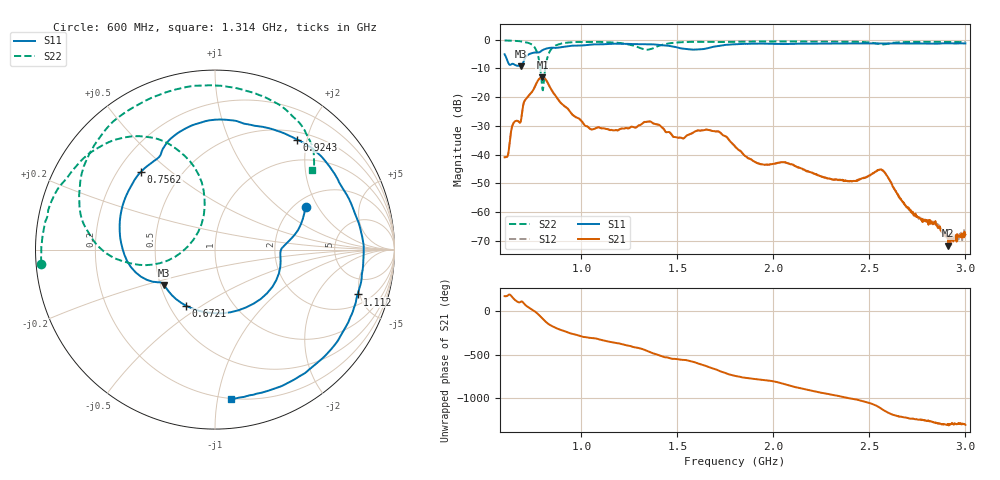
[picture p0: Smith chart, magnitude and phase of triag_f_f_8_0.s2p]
#  HZ  S  RI  R  50.00
! Rohde & Schwarz ZVB8 2Ports - Version 2.81 - 1145.1010k08 SN: 100113
! Date: 2016-05-03 01:37:59
! Measurements: S11 S21 S12 S22
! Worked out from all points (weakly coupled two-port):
!   1000 points, 600 MHz to 3 GHz, reference 50 ohm
!   highest |S21| = -13.06 dB at 797 MHz (marker M1); lowest = -71.7 dB at 2.911 GHz (marker M2)
!   lowest |S11| = -9.2 dB at 686.5 MHz (marker M3), VSWR 2.05, Z = 26.1 - j11.7 ohm
!   |S11| at or under -10 dB: nowhere
!   |S22| runs from -17.6 to -0.3 dB; largest |S21 - S12| = 0.0026
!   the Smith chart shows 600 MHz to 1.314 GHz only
!   S11 on the Smith chart (normalised r, x): 600 MHz: 2.28, +1.57; 672.1 MHz: 0.61, -0.43; 756.2 MHz: 0.29, +0.40; 924.3 MHz: 0.62, +1.83; 1.112 GHz: 2.93, -4.77; 1.314 GHz: 0.20, -1.09
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6e8  0.5045 0.2378  -0.00892 0.00125  -0.00894 0.00123  -0.9681 -0.0779
6.408408e8  0.3414 -0.1703  -0.0299 0.0122  -0.0299 0.0119  -0.952 0.1254
6.720721e8  -0.1601 -0.3135  -0.00825 0.037  -0.0083 0.0369  -0.906 0.2809
6.864865e8  -0.2831 -0.1977  -0.0144 0.0392  -0.0147 0.0391  -0.8616 0.357
7.561562e8  -0.4115 0.4344  0.149 -0.00388  0.1487 -0.00248  -0.3877 0.6287
7.96997e8  -0.2595 0.6054  0.0212 -0.2214  0.0237 -0.221  -0.0938 0.0974
8.186186e8  -0.1304 0.6914  -0.1256 -0.1462  -0.1249 -0.1466  -0.4213 -0.085
8.498498e8  0.0782 0.7218  -0.1246 -0.00949  -0.1244 -0.00993  -0.7183 0.1183
9.243243e8  0.457 0.6127  -0.0322 0.0566  -0.0323 0.0562  -0.6729 0.5809
1.001201e9  0.7297 0.3128  0.014 0.0358  0.0138 0.0357  -0.415 0.8149
1.111712e9  0.7943 -0.2498  0.0259 0.0124  0.0257 0.0124  0.0337 0.9129
1.313514e9  0.0867 -0.8324  0.00998 -0.0325  0.0101 -0.0325  0.5426 0.4458
1.4e9  -0.2959 -0.7614  -0.0267 -0.0199  -0.0267 -0.02  0.6365 0.4412
1.565766e9  -0.5932 -0.3286  -0.0189 0.0127  -0.019 0.0126  0.9072 -0.1396
1.801201e9  -0.7845 0.2851  0.0125 -0.00568  0.0126 -0.00565  0.4358 -0.8102
2.000601e9  -0.2461 0.8082  0.00036 -0.00692  0.000395 -0.00689  -0.1806 -0.9127
2.2e9  0.4891 0.6997  -0.00474 0.00124  -0.0047 0.00116  -0.6632 -0.6532
2.399399e9  0.8621 -0.0215  0.000797 0.0034  0.000706 0.00339  -0.8991 -0.2138
2.601201e9  0.4612 -0.7282  2.72e-05 -0.00381  -1.21e-05 -0.00378  -0.8438 0.1538
2.718919e9  0.0252 -0.8606  -0.00091 -0.000459  -0.000915 -0.000432  -0.808 0.4302
2.911111e9  -0.6024 -0.6193  -0.00021 0.000152  -0.000242 0.000225  -0.5117 0.7588
3e9  -0.7803 -0.3662  -0.000279 0.000294  -0.000319 0.000271  -0.3171 0.8519
